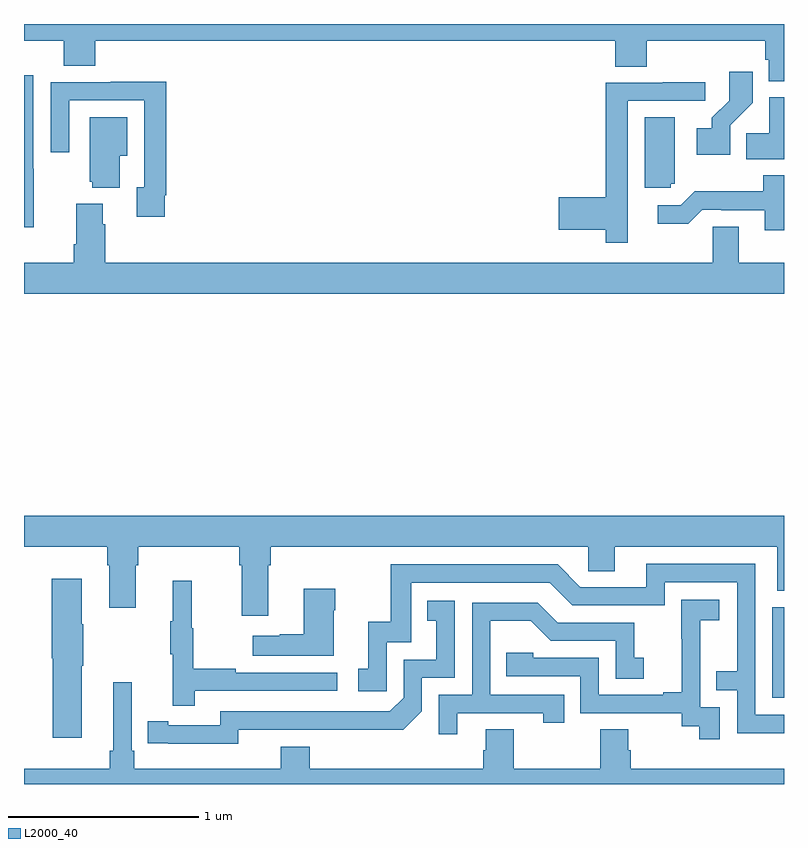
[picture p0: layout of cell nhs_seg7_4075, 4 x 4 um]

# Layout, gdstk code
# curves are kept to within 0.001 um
import gdstk
lib = gdstk.Library(unit=1e-6, precision=1e-09)
def R(c, l, rs):  # rectangles x0, y0, x1, y1
    for r in rs: c.add(gdstk.rectangle(r[:2], r[2:], *l))
def P(c, l, *ps):  # polygons
    for p in ps: c.add(gdstk.Polygon(p, *l))
L2000_40 = (2000, 40)

nhs_seg7_4075 = lib.new_cell('nhs_seg7_4075')
R(nhs_seg7_4075, L2000_40, [(372.939,1034.454,373,1034.931)])
P(nhs_seg7_4075, L2000_40, [(373,1038),(369,1038),(369,1037.912),(369.209,1037.912),(369.209,1037.779),(369.374,1037.779),(369.374,1037.912),(372.113,1037.912),(372.113,1037.776),(372.278,1037.776),(372.278,1037.912),(372.901,1037.912),(372.901,1037.811),(372.921,1037.811),(372.921,1037.699),(373,1037.699)],
  [(372.717,1037.467),(372.836,1037.586),(372.836,1037.749),(372.711,1037.749),(372.711,1037.597),(372.62,1037.507),(372.62,1037.452),(372.54,1037.452),(372.54,1037.312),(372.717,1037.312)],
  [(369.051,1037.237),(369.048,1037.237),(369.048,1037.731),(369,1037.731),(369,1036.93),(369.051,1036.93)],
  [(369.742,1037.098),(369.749,1037.098),(369.749,1037.696),(369.457,1037.696),(369.457,1037.694),(369.141,1037.694),(369.141,1037.325),(369.237,1037.325),(369.237,1037.598),(369.633,1037.598),(369.633,1037.142),(369.593,1037.142),(369.593,1036.986),(369.742,1036.986)],
  [(372.178,1037.07),(372.177,1037.07),(372.177,1037.595),(372.586,1037.595),(372.586,1037.694),(372.361,1037.694),(372.361,1037.691),(372.061,1037.691),(372.061,1037.087),(371.814,1037.087),(371.814,1036.916),(372.061,1036.916),(372.061,1036.848),(372.178,1036.848)],
  [(373,1037.614),(372.923,1037.614),(372.923,1037.426),(372.802,1037.426),(372.802,1037.288),(373,1037.288)],
  [(372.405,1037.16),(372.424,1037.16),(372.424,1037.509),(372.266,1037.509),(372.266,1037.139),(372.405,1037.139)],
  [(369.505,1037.306),(369.544,1037.306),(369.544,1037.509),(369.347,1037.509),(369.347,1037.169),(369.359,1037.169),(369.359,1037.138),(369.505,1037.138)],
  [(373,1037.203),(372.892,1037.203),(372.892,1037.119),(372.529,1037.119),(372.456,1037.046),(372.336,1037.046),(372.336,1036.949),(372.497,1036.949),(372.57,1037.022),(372.67,1037.022),(372.67,1037.019),(372.899,1037.019),(372.899,1036.914),(373,1036.914)],
  [(373,1036.744),(372.763,1036.744),(372.763,1036.934),(372.624,1036.934),(372.624,1036.744),(369.428,1036.744),(369.428,1036.946),(369.415,1036.946),(369.415,1037.053),(369.275,1037.053),(369.275,1036.84),(369.263,1036.84),(369.263,1036.744),(369,1036.744),(369,1036.58),(373,1036.58)],
  [(370.285,1035.152),(370.298,1035.152),(370.298,1035.248),(371.97,1035.248),(371.97,1035.121),(372.109,1035.121),(372.109,1035.248),(372.965,1035.248),(372.965,1035.016),(373,1035.016),(373,1035.412),(369,1035.412),(369,1035.248),(369.437,1035.248),(369.437,1035.152),(369.449,1035.152),(369.449,1034.928),(369.589,1034.928),(369.589,1035.152),(369.602,1035.152),(369.602,1035.248),(370.133,1035.248),(370.133,1035.152),(370.145,1035.152),(370.145,1034.886),(370.285,1034.886)],
  [(373,1034.364),(372.849,1034.364),(372.849,1035.159),(372.275,1035.159),(372.275,1035.036),(371.928,1035.036),(371.808,1035.156),(370.929,1035.156),(370.929,1034.853),(370.811,1034.853),(370.811,1034.607),(370.758,1034.607),(370.758,1034.487),(370.908,1034.487),(370.908,1034.745),(371.037,1034.745),(371.037,1035.06),(371.766,1035.06),(371.886,1034.94),(372.372,1034.94),(372.372,1035.063),(372.753,1035.063),(372.753,1034.594),(372.643,1034.594),(372.643,1034.493),(372.753,1034.493),(372.753,1034.268),(373,1034.268)],
  [(369.304,1034.623),(369.312,1034.623),(369.312,1034.84),(369.304,1034.84),(369.304,1035.079),(369.146,1035.079),(369.146,1034.661),(369.151,1034.661),(369.151,1034.244),(369.304,1034.244)],
  [(369.899,1034.49),(370.648,1034.49),(370.648,1034.586),(370.115,1034.586),(370.115,1034.606),(369.892,1034.606),(369.892,1034.82),(369.884,1034.82),(369.884,1035.07),(369.782,1035.07),(369.782,1034.857),(369.771,1034.857),(369.771,1034.683),(369.782,1034.683),(369.782,1034.412),(369.899,1034.412)],
  [(370.63,1034.915),(370.638,1034.915),(370.638,1035.028),(370.472,1035.028),(370.472,1034.789),(370.346,1034.789),(370.346,1034.779),(370.203,1034.779),(370.203,1034.675),(370.63,1034.675)],
  [(372.663,1034.403),(372.558,1034.403),(372.558,1034.632),(372.56,1034.632),(372.56,1034.861),(372.658,1034.861),(372.658,1034.971),(372.46,1034.971),(372.46,1034.765),(372.461,1034.765),(372.461,1034.482),(372.365,1034.482),(372.365,1034.469),(372.024,1034.469),(372.024,1034.664),(371.679,1034.664),(371.679,1034.691),(371.539,1034.691),(371.539,1034.568),(371.928,1034.568),(371.928,1034.373),(372.462,1034.373),(372.462,1034.305),(372.555,1034.305),(372.555,1034.235),(372.663,1034.235)],
  [(370.128,1034.286),(370.996,1034.285),(371.094,1034.382),(371.094,1034.559),(371.268,1034.559),(371.268,1034.965),(371.122,1034.965),(371.122,1034.859),(371.171,1034.859),(371.171,1034.655),(370.998,1034.655),(370.998,1034.454),(370.926,1034.382),(370.032,1034.382),(370.032,1034.31),(369.76,1034.31),(369.76,1034.33),(369.652,1034.33),(369.652,1034.214),(370.128,1034.213)],
  [(371.281,1034.373),(371.732,1034.373),(371.732,1034.322),(371.843,1034.322),(371.843,1034.469),(371.454,1034.469),(371.454,1034.858),(371.668,1034.858),(371.772,1034.754),(372.114,1034.754),(372.114,1034.555),(372.262,1034.555),(372.262,1034.665),(372.213,1034.665),(372.213,1034.85),(371.809,1034.85),(371.704,1034.955),(371.358,1034.955),(371.358,1034.469),(371.184,1034.469),(371.184,1034.262),(371.281,1034.262)],
  [(373,1034.08),(372.194,1034.08),(372.194,1034.178),(372.181,1034.178),(372.181,1034.288),(372.034,1034.288),(372.034,1034.08),(371.577,1034.08),(371.577,1034.288),(371.429,1034.288),(371.429,1034.178),(371.417,1034.178),(371.417,1034.08),(370.505,1034.08),(370.505,1034.197),(370.352,1034.197),(370.352,1034.08),(369.581,1034.08),(369.581,1034.176),(369.567,1034.176),(369.567,1034.536),(369.47,1034.536),(369.47,1034.176),(369.451,1034.176),(369.451,1034.08),(369,1034.08),(369,1034),(373,1034)])

lib.write_gds('nhs_seg7_4075.gds')
